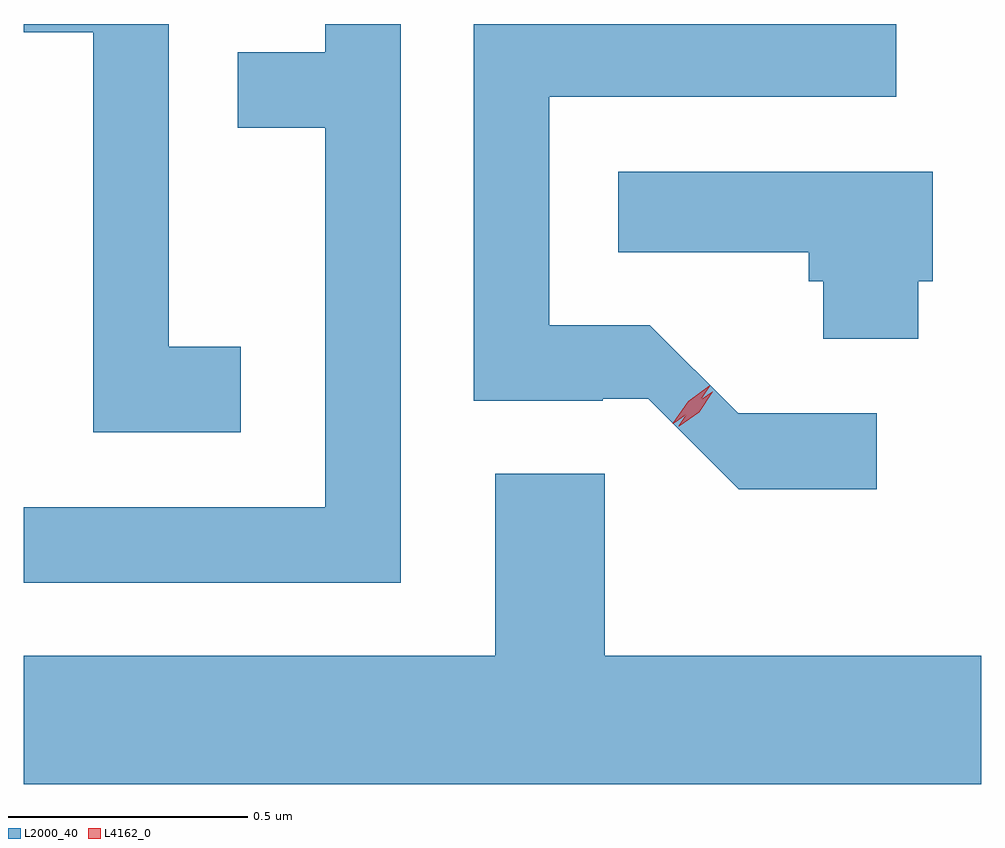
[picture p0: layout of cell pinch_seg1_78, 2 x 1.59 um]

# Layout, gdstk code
import gdstk
lib = gdstk.Library(unit=1e-6, precision=1e-09)
def P(c, l, *ps):  # polygons
    for p in ps: c.add(gdstk.Polygon(p, *l))
L2000_40 = (2000, 40)
L4162_0 = (4162, 0)

pinch_seg1_78 = lib.new_cell('pinch_seg1_78')
P(pinch_seg1_78, L2000_40, [(1438.628,847.07),(1438.338,847.07),(1438.154,847.254),(1437.944,847.254),(1437.944,847.731),(1438.668,847.731),(1438.668,847.883),(1437.786,847.883),(1437.786,847.096),(1438.055,847.096),(1438.055,847.1),(1438.15,847.1),(1438.339,846.911),(1438.628,846.911)],
  [(1437.299,847.209),(1437.149,847.209),(1437.149,847.883),(1436.846,847.883),(1436.846,847.866),(1436.991,847.866),(1436.991,847.031),(1437.299,847.031)],
  [(1437.634,847.883),(1437.476,847.883),(1437.476,847.824),(1437.293,847.824),(1437.293,847.666),(1437.476,847.666),(1437.476,846.874),(1436.846,846.874),(1436.846,846.716),(1437.634,846.716)],
  [(1438.714,847.346),(1438.744,847.346),(1438.744,847.574),(1438.088,847.574),(1438.088,847.406),(1438.486,847.406),(1438.486,847.346),(1438.516,847.346),(1438.516,847.226),(1438.714,847.226)],
  [(1438.846,846.564),(1438.059,846.564),(1438.059,846.944),(1437.831,846.944),(1437.831,846.564),(1436.846,846.564),(1436.846,846.296),(1438.846,846.296)])
P(pinch_seg1_78, L4162_0, [(1438.214,847.043),(1438.214,847.044),(1438.242,847.086),(1438.284,847.115),(1438.285,847.115),(1438.285,847.115),(1438.257,847.072),(1438.215,847.043)],
  [(1438.202,847.048),(1438.202,847.049),(1438.234,847.095),(1438.278,847.128),(1438.279,847.128),(1438.279,847.127),(1438.248,847.081),(1438.203,847.048)])

lib.write_gds('pinch_seg1_78.gds')
